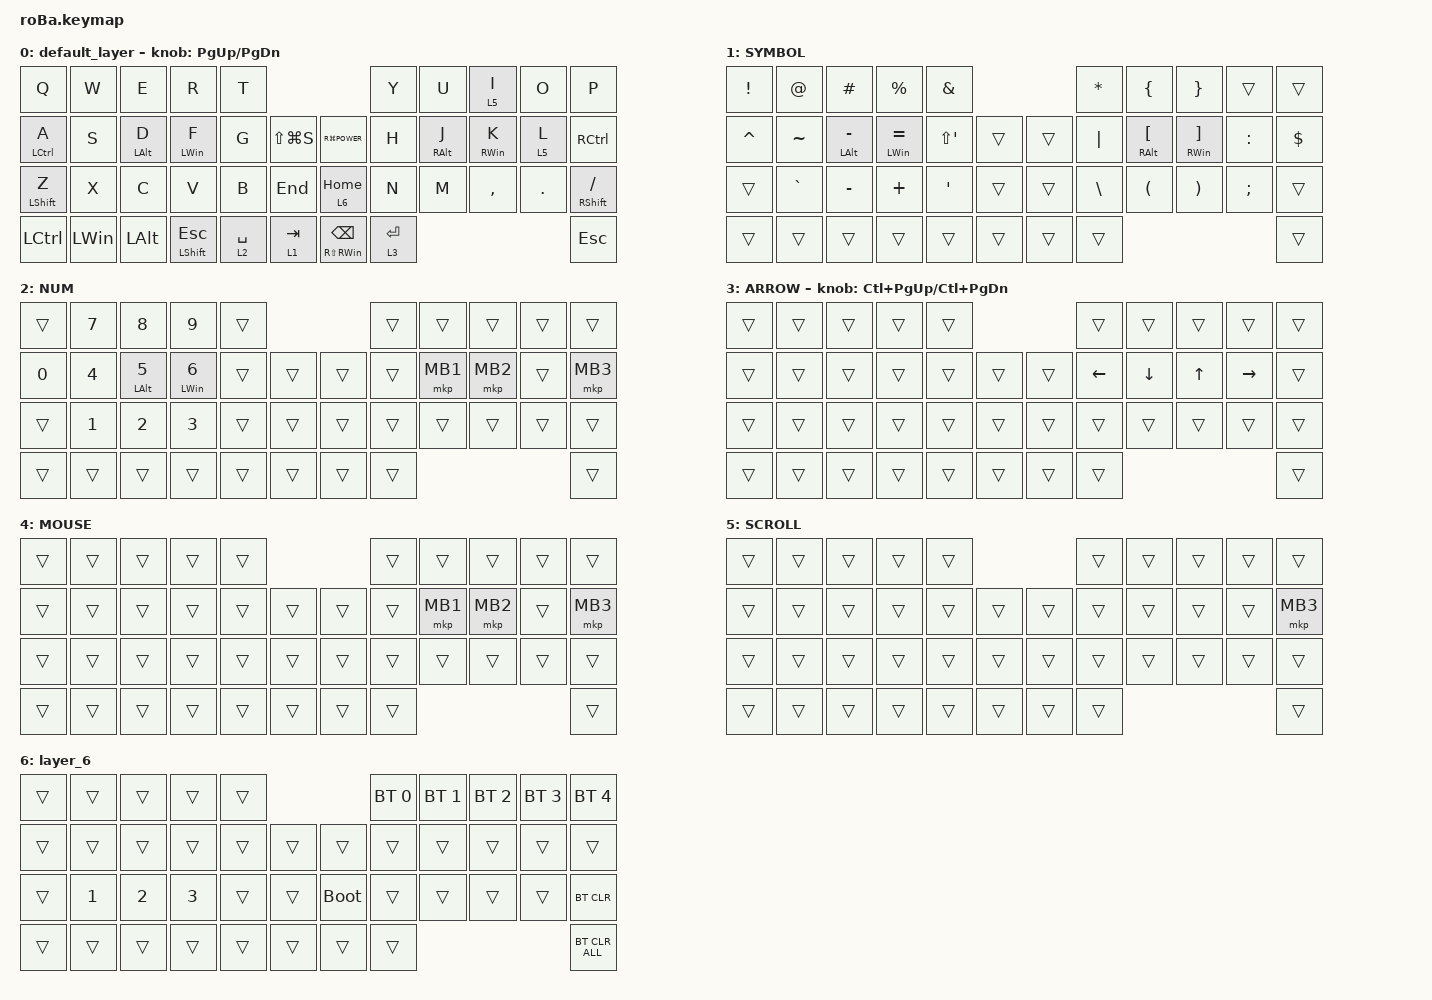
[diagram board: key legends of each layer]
#include <behaviors.dtsi>
#include <dt-bindings/zmk/bt.h>
#include <dt-bindings/zmk/keys.h>
#include <dt-bindings/zmk/pointing.h>

&mt {
    flavor = "balanced";
    quick-tap-ms = <0>;
};

&trackball {
    automouse-layer = <4>;
    scroll-layers = <5>;

    // arrows {
    //     layers = <3>;
    //     bindings =
    //         <&kp RIGHT_ARROW>,
    //         <&kp LEFT_ARROW>,
    //         <&kp UP_ARROW>,
    //         <&kp DOWN_ARROW>;
    //     tick = <10>;
    //     wait-ms = <5>;
    //     tap-ms = <5>;
    // };
};

/ {
    combos {
        compatible = "zmk,combos";

        tab {
            bindings = <&kp TAB>;
            key-positions = <11 12>;
        };

        shift_tab {
            bindings = <&kp LS(TAB)>;
            key-positions = <12 13>;
        };

        muhennkann {
            bindings = <&to_layer_0 INT_MUHENKAN>;
            key-positions = <11 10>;
        };

        double_quotation {
            bindings = <&kp DOUBLE_QUOTES>;
            key-positions = <20 21>;
        };

        eq {
            bindings = <&kp EQUAL>;
            key-positions = <24 25>;
        };
    };

    macros {
        to_layer_0: to_layer_0 {
            compatible = "zmk,behavior-macro-one-param";
            #binding-cells = <1>;
            bindings = <&to 0 &macro_param_1to1 &kp MACRO_PLACEHOLDER>;
            label = "TO_LAYER_0";
        };
    };

    behaviors {
        lt_to_layer_0: lt_to_layer_0 {
            compatible = "zmk,behavior-hold-tap";
            label = "LAYER_TAP_TO_0";
            bindings = <&mo>, <&to_layer_0>;

            #binding-cells = <2>;
            tapping-term-ms = <200>;
        };
    };

    keymap {
        compatible = "zmk,keymap";

        default_layer {
            bindings = <
&kp Q             &kp W         &kp E           &kp R                  &kp T                                                        &kp Y        &kp U            &lt 5 I          &kp O    &kp P
&mt LCTRL A       &kp S         &mt LEFT_ALT D  &mt LEFT_WIN F         &kp G        &kp LS(LG(S))      &kp RG(C_POWER)              &kp H        &mt RIGHT_ALT J  &mt RIGHT_WIN K  &lt 5 L  &kp RCTRL
&mt LEFT_SHIFT Z  &kp X         &kp C           &kp V                  &kp B        &kp END            &lt 6 HOME                   &kp N        &kp M            &kp COMMA        &kp DOT  &mt RIGHT_SHIFT SLASH
&kp LCTRL         &kp LEFT_WIN  &kp LEFT_ALT    &mt LEFT_SHIFT ESCAPE  &lt 2 SPACE  &lt 1 TAB          &mt RS(RIGHT_WIN) BACKSPACE  &lt 3 ENTER                                             &kp ESCAPE
            >;

           sensor-bindings = <&inc_dec_kp PG_UP PAGE_DOWN>;
        };

        SYMBOL {
            bindings = <
&kp EXCLAMATION  &kp AT     &kp HASH            &kp PRCNT           &kp AMPS                                  &kp STAR       &kp LBRC            &kp RBRC            &trans         &trans
&kp CARET        &kp TILDE  &mt LEFT_ALT MINUS  &mt LEFT_WIN EQUAL  &kp LS(SINGLE_QUOTE)  &trans      &trans  &kp PIPE       &mt RIGHT_ALT LBKT  &mt RIGHT_WIN RBKT  &kp COLON      &kp DLLR
&trans           &kp GRAVE  &kp MINUS           &kp PLUS            &kp SINGLE_QUOTE      &trans      &trans  &kp BACKSLASH  &kp LPAR            &kp RPAR            &kp SEMICOLON  &trans
&trans           &trans     &trans              &trans              &trans                &trans      &trans  &trans                                                                &trans
            >;
        };

        NUM {
            bindings = <
&trans        &kp NUMBER_7  &kp NUMBER_8           &kp NUMBER_9           &trans                      &trans  &trans    &trans    &trans  &trans
&kp NUMBER_0  &kp NUMBER_4  &mt LEFT_ALT NUMBER_5  &mt LEFT_WIN NUMBER_6  &trans  &trans      &trans  &trans  &mkp MB1  &mkp MB2  &trans  &mkp MB3
&trans        &kp NUMBER_1  &kp NUMBER_2           &kp NUMBER_3           &trans  &trans      &trans  &trans  &trans    &trans    &trans  &trans
&trans        &trans        &trans                 &trans                 &trans  &trans      &trans  &trans                              &trans
            >;
        };

        ARROW {
            bindings = <
&trans  &trans  &trans  &trans  &trans                      &trans    &trans    &trans  &trans     &trans
&trans  &trans  &trans  &trans  &trans  &trans      &trans  &kp LEFT  &kp DOWN  &kp UP  &kp RIGHT  &trans
&trans  &trans  &trans  &trans  &trans  &trans      &trans  &trans    &trans    &trans  &trans     &trans
&trans  &trans  &trans  &trans  &trans  &trans      &trans  &trans                                 &trans
            >;

            sensor-bindings = <&inc_dec_kp LC(PAGE_UP) LC(PAGE_DOWN)>;
        };

        MOUSE {
            bindings = <
&trans  &trans  &trans  &trans  &trans                      &trans  &trans    &trans    &trans  &trans
&trans  &trans  &trans  &trans  &trans  &trans      &trans  &trans  &mkp MB1  &mkp MB2  &trans  &mkp MB3
&trans  &trans  &trans  &trans  &trans  &trans      &trans  &trans  &trans    &trans    &trans  &trans
&trans  &trans  &trans  &trans  &trans  &trans      &trans  &trans                              &trans
            >;
        };

        SCROLL {
            bindings = <
&trans  &trans  &trans  &trans  &trans                      &trans  &trans  &trans  &trans  &trans
&trans  &trans  &trans  &trans  &trans  &trans      &trans  &trans  &trans  &trans  &trans  &mkp MB3
&trans  &trans  &trans  &trans  &trans  &trans      &trans  &trans  &trans  &trans  &trans  &trans
&trans  &trans  &trans  &trans  &trans  &trans      &trans  &trans                          &trans
            >;
        };

        layer_6 {
            bindings = <
&trans  &trans        &trans        &trans        &trans                           &bt BT_SEL 0  &bt BT_SEL 1  &bt BT_SEL 2  &bt BT_SEL 3  &bt BT_SEL 4
&trans  &trans        &trans        &trans        &trans  &trans      &trans       &trans        &trans        &trans        &trans        &trans
&trans  &kp NUMBER_1  &kp NUMBER_2  &kp NUMBER_3  &trans  &trans      &bootloader  &trans        &trans        &trans        &trans        &bt BT_CLR
&trans  &trans        &trans        &trans        &trans  &trans      &trans       &trans                                                  &bt BT_CLR_ALL
            >;
        };
    };
};
